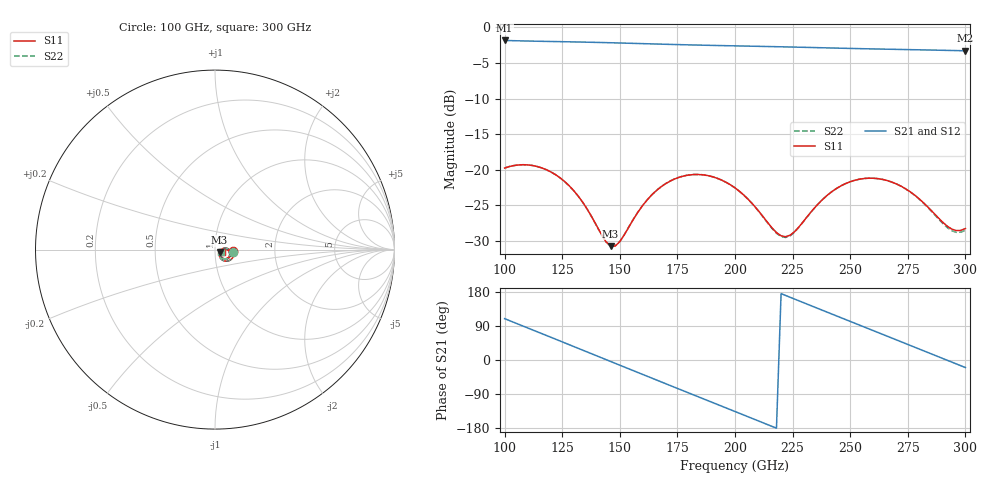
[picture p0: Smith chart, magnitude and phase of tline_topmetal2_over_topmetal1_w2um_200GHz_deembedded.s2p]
! Created with skrf 2.2.0 (http://scikit-rf.org).
# GHz S DB R 50.0
! Port[1] = P1
! Port[2] = P2
!freq dBS11 angS11 dBS21 angS21 dBS12 angS12 dBS22 angS22
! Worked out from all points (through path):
!   101 points, 100 GHz to 300 GHz, reference 50 ohm
!   highest |S21| = -1.84 dB at 100 GHz (marker M1); lowest = -3.3 dB at 300 GHz (marker M2)
!   group delay of S21, straight-line fit = 6.79 ps
!   lowest |S11| = -30.7 dB at 146 GHz (marker M3), VSWR 1.06, Z = 52.6 - j1.5 ohm
!   |S11| at or under -10 dB: start of sweep to end of sweep
!   |S22| runs from -30.7 to -19.3 dB; largest |S21 - S12| = 1.4e-13
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100  -19.75 -5.7  -1.84 109.1  -1.84 109.1  -19.75 -6.0
108  -19.28 -19.8  -1.90 89.5  -1.90 89.5  -19.28 -20.2
116  -19.71 -34.0  -1.96 70.0  -1.96 70.0  -19.72 -34.3
124  -21.10 -46.9  -2.00 50.3  -2.00 50.3  -21.11 -47.3
134  -24.59 -57.2  -2.07 25.7  -2.07 25.7  -24.61 -57.6
146  -30.70 -29.3  -2.16 -3.8  -2.16 -3.8  -30.71 -29.4
150  -30.08 -7.1  -2.19 -13.7  -2.19 -13.7  -30.06 -7.3
156  -26.89 8.2  -2.25 -28.4  -2.25 -28.4  -26.86 7.8
168  -22.36 1.8  -2.36 -57.8  -2.36 -57.8  -22.34 1.3
176  -21.02 -9.6  -2.42 -77.4  -2.42 -77.4  -21.00 -10.2
184  -20.65 -22.3  -2.49 -96.9  -2.49 -96.9  -20.64 -22.9
200  -22.53 -44.9  -2.60 -136.0  -2.60 -136.0  -22.54 -45.7
210  -25.68 -50.1  -2.66 -160.4  -2.66 -160.4  -25.72 -51.0
220  -29.26 -30.2  -2.73 175.1  -2.73 175.1  -29.37 -30.9
226  -28.63 -8.4  -2.77 160.5  -2.77 160.5  -28.71 -8.7
234  -25.53 2.5  -2.83 140.9  -2.83 140.9  -25.55 2.3
244  -22.62 -3.7  -2.91 116.5  -2.91 116.5  -22.63 -4.1
252  -21.46 -14.0  -2.97 97.0  -2.97 97.0  -21.46 -14.6
268  -21.71 -36.7  -3.08 58.1  -3.08 58.1  -21.71 -37.6
284  -25.31 -49.0  -3.18 19.1  -3.18 19.1  -25.39 -50.4
294  -28.30 -34.7  -3.24 -5.3  -3.24 -5.3  -28.53 -35.9
300  -28.24 -17.4  -3.29 -19.9  -3.29 -19.9  -28.48 -17.7
